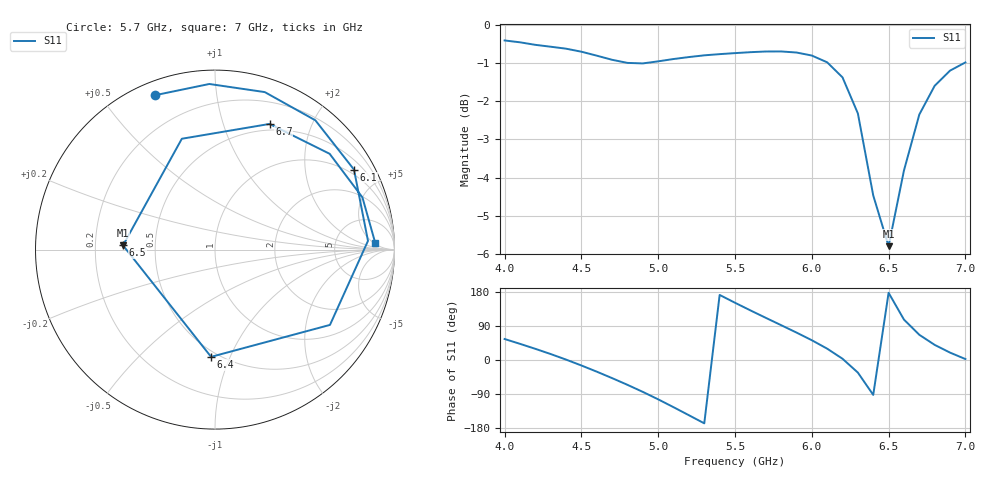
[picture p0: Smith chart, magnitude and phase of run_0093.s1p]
! Touchstone file exported from HFSS 2024.2.0
!  File:  C:/Users/wsak9/Desktop/Sim Fast/Widenad Patch/WP_AI_V1_sweep.aedt
!  Generated:  06:47:59 PM Oct 13, 2026
!  Design:  A1_model
!  Project:  WP_AI_V1_sweep
!  Setup:  Setup1
!  Solution:  Sweep
! Variables:
!  Air_gap = 4.9mm
!  Curve_Amp1 = 0.77
!  Curve_len1 = 1
!  Curve_pos = 9.57mm
!  Extra = 6.88mm
!  H_sub = 0.79mm
!  L_Patch = 15.14mm
!  L_Patch1 = 21.89mm
!  Sx = 3.28mm
!  Sy = 2.06mm
!  WS = 0.61mm
!  W_Patch = 22.37mm
!  W_Patch1 = 15.01mm
!Data is not renormalized
# GHz S MA
! Terminal data exported
! Port[1] = 1
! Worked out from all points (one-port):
!   31 points, 4 GHz to 7 GHz, reference per port
!   lowest |S11| = -5.8 dB at 6.5 GHz (marker M1), VSWR 3.11
!   |S11| at or under -10 dB: nowhere
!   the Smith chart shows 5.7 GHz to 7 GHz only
!   S11 on the Smith chart (normalised r, x): 5.7 GHz: 0.06, +0.68; 6.1 GHz: 0.81, +3.57; 6.4 GHz: 0.46, -0.85; 6.5 GHz: 0.32, +0.02; 6.7 GHz: 0.43, +1.44; 7 GHz: 15, +6
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4  0.9544 55.4
4.2  0.9418 29.5
4.4  0.931 1.1
4.5  0.9225 -14.5
4.6  0.9116 -30.8
4.8  0.8919 -65.6
4.9  0.8905 -84.2
5  0.8961 -103.9
5.1  0.9024 -124.6
5.2  0.9077 -145.8
5.3  0.9125 -167.1
5.4  0.9158 171.7
5.5  0.9186 151.1
5.6  0.9212 131.0
5.7  0.9231 111.3
5.8  0.9232 92.0
5.9  0.9203 72.5
6  0.9119 52.2
6.1  0.8935 29.9
6.2  0.8538 3.3
6.3  0.7657 -33.2
6.4  0.5979 -92.1
6.5  0.5131 177.4
6.6  0.6446 106.7
6.7  0.7633 66.5
6.8  0.8324 39.9
6.9  0.8713 19.5
7  0.8931 2.5
